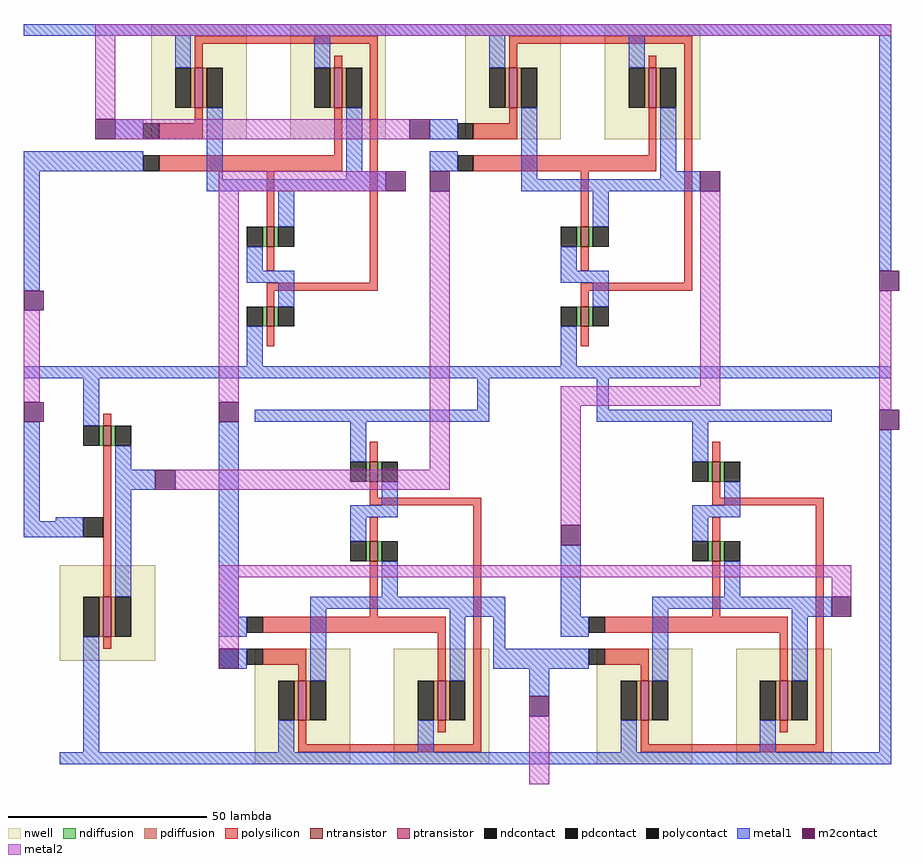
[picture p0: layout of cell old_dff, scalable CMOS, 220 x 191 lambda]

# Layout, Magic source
magic
tech scmos
<< metal1 >>
rect -23 86 25 89
rect 68 86 88 89
rect 147 86 195 89
rect -23 52 0 57
rect -23 22 -19 52
rect 192 27 195 86
rect -23 0 -13 3
rect 67 0 100 3
rect 91 -8 94 0
rect 121 -8 124 1
rect 147 0 195 3
rect -23 -36 -19 -11
rect -15 -36 -13 -35
rect -23 -40 -13 -36
rect 26 -64 31 -11
rect 94 -60 98 -55
rect 112 -60 117 -42
rect 95 -68 98 -60
rect 95 -73 113 -68
rect 104 -80 109 -73
rect 192 -94 195 -13
rect 10 -97 121 -94
rect 180 -97 195 -94
<< m2contact >>
rect -5 60 0 65
rect 74 60 79 65
rect 68 47 73 52
rect 79 47 84 52
rect 147 47 152 52
rect 192 22 197 27
rect -23 17 -18 22
rect -23 -11 -18 -6
rect 26 -11 31 -6
rect 10 -28 15 -23
rect 192 -13 197 -8
rect 112 -42 117 -37
rect 180 -60 185 -55
rect 26 -73 31 -68
rect 104 -85 109 -80
<< metal2 >>
rect -5 86 195 89
rect -5 65 0 86
rect 0 60 74 65
rect 26 47 68 52
rect -23 -6 -19 17
rect 26 -6 31 47
rect 79 -23 84 47
rect 147 -2 152 47
rect 15 -28 84 -23
rect 112 -7 152 -2
rect 112 -37 117 -7
rect 192 -8 195 22
rect 26 -50 185 -47
rect 26 -68 31 -50
rect 180 -55 185 -50
rect 104 -102 109 -85
use nand  nand_0
transform 1 0 46 0 1 63
box -46 -63 22 26
use nand  nand_1
transform 1 0 125 0 1 63
box -46 -63 22 26
use not  not_0
transform 1 0 -14 0 -1 -44
box 0 -47 24 53
use nand  nand_2
transform 1 0 72 0 -1 -71
box -46 -63 22 26
use nand  nand_3
transform 1 0 158 0 -1 -71
box -46 -63 22 26
<< end >>

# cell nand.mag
magic
tech scmos
<< nwell >>
rect -37 -3 -13 26
rect -2 -3 22 26
<< ntransistor >>
rect -8 -30 -6 -25
rect -8 -50 -6 -45
<< ptransistor >>
rect -26 5 -24 15
rect 9 5 11 15
<< ndiffusion >>
rect -9 -30 -8 -25
rect -6 -30 -5 -25
rect -9 -50 -8 -45
rect -6 -50 -5 -45
<< pdiffusion >>
rect -27 5 -26 15
rect -24 5 -23 15
rect 8 5 9 15
rect 11 5 12 15
<< ndcontact >>
rect -13 -30 -9 -25
rect -5 -30 -1 -25
rect -13 -50 -9 -45
rect -5 -50 -1 -45
<< pdcontact >>
rect -31 5 -27 15
rect -23 5 -19 15
rect 4 5 8 15
rect 12 5 16 15
<< polysilicon >>
rect -26 21 20 23
rect -26 15 -24 21
rect 9 15 11 18
rect -26 1 -24 5
rect -35 -3 -24 1
rect 9 -7 11 5
rect -35 -11 11 -7
rect -8 -25 -6 -11
rect -8 -36 -6 -30
rect 18 -39 20 21
rect -8 -41 20 -39
rect -8 -45 -6 -41
rect -8 -55 -6 -50
<< polycontact >>
rect -39 -3 -35 1
rect -39 -11 -35 -7
<< metal1 >>
rect -37 23 22 26
rect -31 15 -27 23
rect 4 15 8 23
rect -46 -3 -39 2
rect -46 -11 -39 -6
rect -23 -13 -19 5
rect 12 -11 16 5
rect 12 -13 22 -11
rect -23 -16 22 -13
rect -5 -25 -1 -16
rect -13 -36 -9 -30
rect -13 -39 -1 -36
rect -5 -45 -1 -39
rect -13 -60 -9 -50
rect -37 -63 22 -60
<< end >>

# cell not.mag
magic
tech scmos
<< nwell >>
rect 0 3 24 27
<< ntransistor >>
rect 11 -32 13 -27
<< ptransistor >>
rect 11 11 13 21
<< ndiffusion >>
rect 10 -32 11 -27
rect 13 -32 14 -27
<< pdiffusion >>
rect 10 11 11 21
rect 13 11 14 21
<< ndcontact >>
rect 6 -32 10 -27
rect 14 -32 18 -27
<< pdcontact >>
rect 6 11 10 21
rect 14 11 18 21
<< polysilicon >>
rect 11 21 13 24
rect 11 -27 13 11
rect 11 -35 13 -32
<< polycontact >>
rect 6 -9 11 -4
<< metal1 >>
rect 0 50 24 53
rect 6 21 10 50
rect 0 -9 6 -4
rect 14 -16 18 11
rect 14 -21 24 -16
rect 14 -27 18 -21
rect 6 -44 10 -32
rect 0 -47 24 -44
<< end >>
